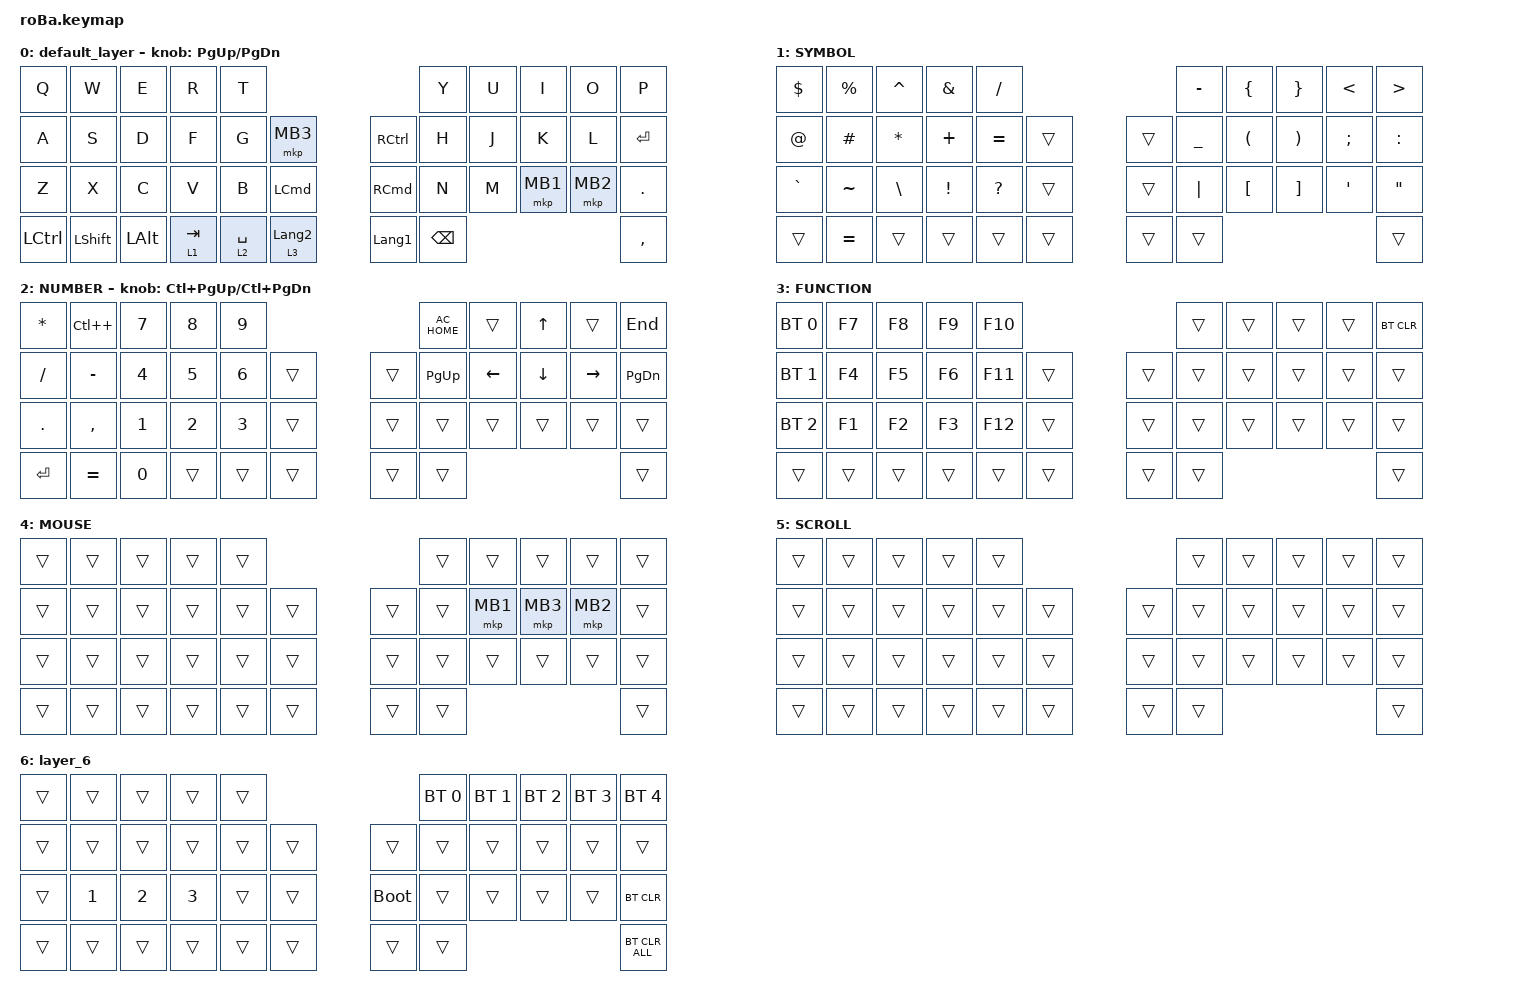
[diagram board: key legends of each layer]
#include <behaviors.dtsi>
#include <dt-bindings/zmk/bt.h>
#include <dt-bindings/zmk/keys.h>
#include <dt-bindings/zmk/pointing.h>

&mt {
    flavor = "balanced";
    quick-tap-ms = <0>;
};

&trackball {
    automouse-layer = <4>;
    scroll-layers = <5>;

    // arrows {
    //     layers = <3>;
    //     bindings =
    //         <&kp RIGHT_ARROW>,
    //         <&kp LEFT_ARROW>,
    //         <&kp UP_ARROW>,
    //         <&kp DOWN_ARROW>;

    //     tick = <10>;
    //     wait-ms = <5>;
    //     tap-ms = <5>;
    // };
};

/ {
    combos {
        compatible = "zmk,combos";

        tab {
            bindings = <&kp TAB>;
            key-positions = <11 12>;
        };

        shift_tab {
            bindings = <&kp LS(TAB)>;
            key-positions = <12 13>;
        };

        muhennkann {
            bindings = <&to_layer_0 INT_MUHENKAN>;
            key-positions = <11 10>;
        };

        double_quotation {
            bindings = <&kp DOUBLE_QUOTES>;
            key-positions = <20 21>;
        };

        eq {
            bindings = <&kp EQUAL>;
            key-positions = <24 25>;
        };
    };

    macros {
        to_layer_0: to_layer_0 {
            compatible = "zmk,behavior-macro-one-param";
            #binding-cells = <1>;
            bindings = <&to 0 &macro_param_1to1 &kp MACRO_PLACEHOLDER>;
            label = "TO_LAYER_0";
        };
    };

    behaviors {
        lt_to_layer_0: lt_to_layer_0 {
            compatible = "zmk,behavior-hold-tap";
            label = "LAYER_TAP_TO_0";
            bindings = <&mo>, <&to_layer_0>;

            #binding-cells = <2>;
            tapping-term-ms = <200>;
        };
    };

    keymap {
        compatible = "zmk,keymap";

        default_layer {
            bindings = <
&kp Q      &kp W           &kp E         &kp R                 &kp T                                                            &kp Y          &kp U  &kp I     &kp O     &kp P
&kp A      &kp S           &kp D         &kp F                 &kp G        &mkp MB3                         &kp RIGHT_CONTROL  &kp H          &kp J  &kp K     &kp L     &kp ENTER
&kp Z      &kp X           &kp C         &kp V                 &kp B        &kp LEFT_COMMAND                 &kp RIGHT_COMMAND  &kp N          &kp M  &mkp MB1  &mkp MB2  &kp PERIOD
&kp LCTRL  &kp LEFT_SHIFT  &kp LEFT_ALT  &lt_to_layer_0 1 TAB  &lt 2 SPACE  &lt_to_layer_0 3 LANGUAGE_2      &kp LANGUAGE_1     &kp BACKSPACE                             &kp COMMA
            >;

            sensor-bindings = <&inc_dec_kp PG_UP PAGE_DOWN>;
        };

        SYMBOL {
            bindings = <
&kp DOLLAR   &kp PERCENT  &kp CARET      &kp AMPERSAND    &kp SLASH                         &kp MINUS       &kp LEFT_BRACE        &kp RIGHT_BRACE        &kp LESS_THAN  &kp GREATER_THAN
&kp AT_SIGN  &kp HASH     &kp ASTERISK   &kp PLUS         &kp EQUAL     &trans      &trans  &kp UNDERSCORE  &kp LEFT_PARENTHESIS  &kp RIGHT_PARENTHESIS  &kp SEMICOLON  &kp COLON
&kp GRAVE    &kp TILDE    &kp BACKSLASH  &kp EXCLAMATION  &kp QUESTION  &trans      &trans  &kp PIPE        &kp LEFT_BRACKET      &kp RIGHT_BRACKET      &kp SQT        &kp DOUBLE_QUOTES
&trans       &kp EQUAL    &trans         &trans           &trans        &trans      &trans  &trans                                                                      &trans
            >;
        };

        NUMBER {
            bindings = <
&kp ASTERISK  &kp LC(PLUS)  &kp NUMBER_7  &kp NUMBER_8  &kp NUMBER_9                      &kp C_AC_HOME  &trans          &kp UP_ARROW    &trans           &kp END
&kp SLASH     &kp MINUS     &kp NUMBER_4  &kp NUMBER_5  &kp NUMBER_6  &trans      &trans  &kp PAGE_UP    &kp LEFT_ARROW  &kp DOWN_ARROW  &kp RIGHT_ARROW  &kp PAGE_DOWN
&kp PERIOD    &kp COMMA     &kp NUMBER_1  &kp NUMBER_2  &kp NUMBER_3  &trans      &trans  &trans         &trans          &trans          &trans           &trans
&kp ENTER     &kp EQUAL     &kp NUMBER_0  &trans        &trans        &trans      &trans  &trans                                                          &trans
            >;

            sensor-bindings = <&inc_dec_kp LC(PAGE_UP) LC(PAGE_DOWN)>;
        };

        FUNCTION {
            bindings = <
&bt BT_SEL 0  &kp F7  &kp F8  &kp F9  &kp F10                      &trans  &trans  &trans  &trans  &bt BT_CLR
&bt BT_SEL 1  &kp F4  &kp F5  &kp F6  &kp F11  &trans      &trans  &trans  &trans  &trans  &trans  &trans
&bt BT_SEL 2  &kp F1  &kp F2  &kp F3  &kp F12  &trans      &trans  &trans  &trans  &trans  &trans  &trans
&trans        &trans  &trans  &trans  &trans   &trans      &trans  &trans                          &trans
            >;
        };

        MOUSE {
            bindings = <
&trans  &trans  &trans  &trans  &trans                      &trans  &trans    &trans    &trans    &trans
&trans  &trans  &trans  &trans  &trans  &trans      &trans  &trans  &mkp MB1  &mkp MB3  &mkp MB2  &trans
&trans  &trans  &trans  &trans  &trans  &trans      &trans  &trans  &trans    &trans    &trans    &trans
&trans  &trans  &trans  &trans  &trans  &trans      &trans  &trans                                &trans
            >;
        };

        SCROLL {
            bindings = <
&trans  &trans  &trans  &trans  &trans                      &trans  &trans  &trans  &trans  &trans
&trans  &trans  &trans  &trans  &trans  &trans      &trans  &trans  &trans  &trans  &trans  &trans
&trans  &trans  &trans  &trans  &trans  &trans      &trans  &trans  &trans  &trans  &trans  &trans
&trans  &trans  &trans  &trans  &trans  &trans      &trans  &trans                          &trans
            >;
        };

        layer_6 {
            bindings = <
&trans  &trans        &trans        &trans        &trans                           &bt BT_SEL 0  &bt BT_SEL 1  &bt BT_SEL 2  &bt BT_SEL 3  &bt BT_SEL 4
&trans  &trans        &trans        &trans        &trans  &trans      &trans       &trans        &trans        &trans        &trans        &trans
&trans  &kp NUMBER_1  &kp NUMBER_2  &kp NUMBER_3  &trans  &trans      &bootloader  &trans        &trans        &trans        &trans        &bt BT_CLR
&trans  &trans        &trans        &trans        &trans  &trans      &trans       &trans                                                  &bt BT_CLR_ALL
            >;
        };
    };
};
